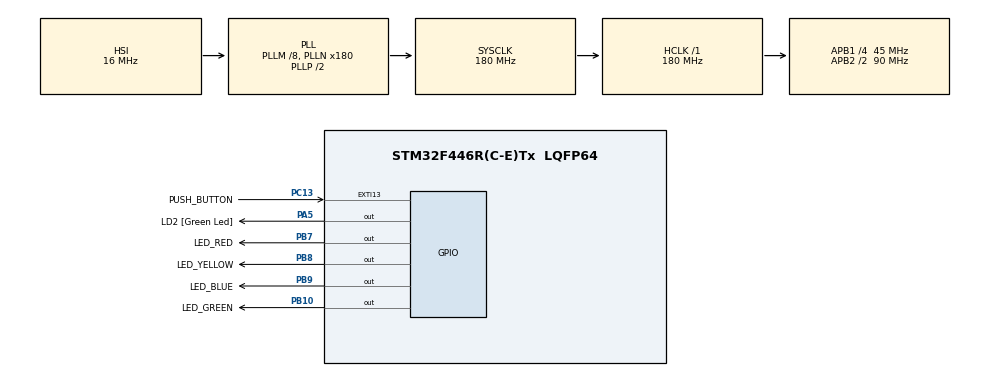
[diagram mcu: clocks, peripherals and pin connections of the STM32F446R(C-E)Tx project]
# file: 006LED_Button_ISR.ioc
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Mcu.Family=STM32F4
PH0-OSC_IN.Signal=RCC_OSC_IN
VP_SYS_VS_tim6.Mode=TIM6
RCC.CortexFreq_Value=180000000
PB9.GPIO_Label=LED_BLUE
NVIC.TIM6_DAC_IRQn=true\:0\:0\:false\:false\:true\:false\:true
PC13.Signal=GPXTI13
PA14.GPIO_Label=TCK
PC13.GPIO_Label=PUSH_BUTTON
RCC.APB1CLKDivider=RCC_HCLK_DIV4
PC14-OSC32_IN.Signal=RCC_OSC32_IN
RCC.SYSCLKSource=RCC_SYSCLKSOURCE_PLLCLK
ProjectManager.StackSize=0x400
PA13.Signal=SYS_JTMS-SWDIO
PB8.GPIO_Label=LED_YELLOW
ProjectManager.TargetToolchain=STM32CubeIDE
PB10.GPIO_Label=LED_GREEN
RCC.HCLKFreq_Value=180000000
RCC.APB2TimFreq_Value=180000000
RCC.USBFreq_Value=180000000
RCC.LSE_VALUE=32768
PC15-OSC32_OUT.Signal=RCC_OSC32_OUT
RCC.AHBFreq_Value=180000000
PB10.Signal=GPIO_Output
NVIC.EXTI15_10_IRQn=true\:6\:0\:true\:false\:true\:true\:true
PA5.Signal=GPIO_Output
RCC.HSE_VALUE=8000000
board=NUCLEO-F446RE
RCC.VCOOutputFreq_Value=360000000
RCC.APB2Freq_Value=90000000
PH1-OSC_OUT.Signal=RCC_OSC_OUT
PB7.Signal=GPIO_Output
Mcu.Name=STM32F446R(C-E)Tx
PA2.Signal=USART2_TX
PA13.GPIO_Label=TMS
RCC.FLatency-AdvancedSettings=FLASH_LATENCY_5
PB7.GPIO_Label=LED_RED
PB3.Signal=SYS_JTDO-SWO
RCC.SYSCLKFreq_VALUE=180000000
Mcu.Package=LQFP64
PB9.Signal=GPIO_Output
NVIC.TimeBase=TIM6_DAC_IRQn
PA5.GPIO_Label=LD2 [Green Led]
PC13.GPIO_ModeDefaultEXTI=GPIO_MODE_IT_RISING
PA2.GPIO_Label=USART_TX
NVIC.TimeBaseIP=TIM6
PA14.Signal=SYS_JTCK-SWCLK
ProjectManager.HeapSize=0x200
RCC.HSI_VALUE=16000000
NVIC.PriorityGroup=NVIC_PRIORITYGROUP_4
RCC.APB2CLKDivider=RCC_HCLK_DIV2
RCC.PLLM=8
RCC.PLLN=180
RCC.APB1TimFreq_Value=90000000
PB8.Signal=GPIO_Output
RCC.APB1Freq_Value=45000000
PA3.GPIO_Label=USART_RX
PA3.Signal=USART2_RX
PB3.GPIO_Label=SWO

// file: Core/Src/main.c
/* USER CODE BEGIN Header */
/**
  ******************************************************************************
  * @file           : main.c
  * @brief          : Main program body
  ******************************************************************************
  * @attention
  *
  * <h2><center>&copy; Copyright (c) 2021 STMicroelectronics.
  * All rights reserved.</center></h2>
  *
  * This software component is licensed by ST under BSD 3-Clause license,
  * the "License"; You may not use this file except in compliance with the
  * License. You may obtain a copy of the License at:
  *                        opensource.org/licenses/BSD-3-Clause
  *
  ******************************************************************************
  */
/* USER CODE END Header */
#include "main.h"

/* USER CODE BEGIN Includes */
#include "FreeRTOS.h"
#include "task.h"
/* USER CODE END Includes */

/* USER CODE BEGIN PV */
#define DWT_CTRL    (*(volatile uint32_t*)0xE0001000)
/* USER CODE END PV */

void SystemClock_Config(void);
static void MX_GPIO_Init(void);
/* USER CODE BEGIN PFP */
static void led_red_handler(void* parameters);
static void led_yellow_handler(void* parameters);
static void led_blue_handler(void* parameters);
static void led_green_handler(void* parameters);

extern void SEGGER_UART_init(uint32_t);

TaskHandle_t ledr_task_handle;
TaskHandle_t ledy_task_handle;
TaskHandle_t ledb_task_handle;
TaskHandle_t ledg_task_handle;

TaskHandle_t volatile next_task_handle = NULL;
/* USER CODE END PFP */

int main(void)
{
  /* USER CODE BEGIN 1 */
	BaseType_t status;
  /* USER CODE END 1 */

  /* MCU Configuration--------------------------------------------------------*/

  /* Reset of all peripherals, Initializes the Flash interface and the Systick. */
  HAL_Init();

  /* Configure the system clock */
  SystemClock_Config();

  /* Initialize all configured peripherals */
  MX_GPIO_Init();
  /* USER CODE BEGIN 2 */
	SEGGER_UART_init(500000);

	//CYCLCNT enable
	DWT_CTRL |= ( 1 << 0);

	SEGGER_SYSVIEW_Conf();
	//SEGGER_SYSVIEW_Start(); //comment out if using UART based continuous recording

	//Create Task 1: Red LED
	status = xTaskCreate(led_red_handler, "LED_RED_TASK", 200, NULL, 2, &ledr_task_handle);
	configASSERT(status == pdPASS);

	next_task_handle = ledy_task_handle;

	//Create Task 2: Yellow LED
	status = xTaskCreate(led_yellow_handler, "LED_YELLOW_TASK", 200, NULL, 2, &ledy_task_handle);
	configASSERT(status == pdPASS);

	//Create Task 3: Blue LED
	status = xTaskCreate(led_blue_handler, "LED_BLUE_TASK", 200, NULL, 2, &ledb_task_handle);
	configASSERT(status == pdPASS);

	//Create Task 4: Green LED
	status = xTaskCreate(led_green_handler, "LED_GREEN_TASK", 200, NULL, 2, &ledg_task_handle);
	configASSERT(status == pdPASS);

	//start the freeRTOS scheduler
	vTaskStartScheduler();

  /* USER CODE END 2 */

  /* Infinite loop */
	while (1)
	{

	}
}

void SystemClock_Config(void)
{
  RCC_OscInitTypeDef RCC_OscInitStruct = {0};
  RCC_ClkInitTypeDef RCC_ClkInitStruct = {0};

  /** Configure the main internal regulator output voltage
  */
  __HAL_RCC_PWR_CLK_ENABLE();
  __HAL_PWR_VOLTAGESCALING_CONFIG(PWR_REGULATOR_VOLTAGE_SCALE1);
  /** Initializes the RCC Oscillators according to the specified parameters
  * in the RCC_OscInitTypeDef structure.
  */
  RCC_OscInitStruct.OscillatorType = RCC_OSCILLATORTYPE_HSI;
  RCC_OscInitStruct.HSIState = RCC_HSI_ON;
  RCC_OscInitStruct.HSICalibrationValue = RCC_HSICALIBRATION_DEFAULT;
  RCC_OscInitStruct.PLL.PLLState = RCC_PLL_ON;
  RCC_OscInitStruct.PLL.PLLSource = RCC_PLLSOURCE_HSI;
  RCC_OscInitStruct.PLL.PLLM = 8;
  RCC_OscInitStruct.PLL.PLLN = 180;
  RCC_OscInitStruct.PLL.PLLP = RCC_PLLP_DIV2;
  RCC_OscInitStruct.PLL.PLLQ = 2;
  RCC_OscInitStruct.PLL.PLLR = 2;
  if (HAL_RCC_OscConfig(&RCC_OscInitStruct) != HAL_OK)
  {
    Error_Handler();
  }
  /** Activate the Over-Drive mode
  */
  if (HAL_PWREx_EnableOverDrive() != HAL_OK)
  {
    Error_Handler();
  }
  /** Initializes the CPU, AHB and APB buses clocks
  */
  RCC_ClkInitStruct.ClockType = RCC_CLOCKTYPE_HCLK|RCC_CLOCKTYPE_SYSCLK
                              |RCC_CLOCKTYPE_PCLK1|RCC_CLOCKTYPE_PCLK2;
  RCC_ClkInitStruct.SYSCLKSource = RCC_SYSCLKSOURCE_PLLCLK;
  RCC_ClkInitStruct.AHBCLKDivider = RCC_SYSCLK_DIV1;
  RCC_ClkInitStruct.APB1CLKDivider = RCC_HCLK_DIV4;
  RCC_ClkInitStruct.APB2CLKDivider = RCC_HCLK_DIV2;

  if (HAL_RCC_ClockConfig(&RCC_ClkInitStruct, FLASH_LATENCY_5) != HAL_OK)
  {
    Error_Handler();
  }
}

static void MX_GPIO_Init(void)
{
  GPIO_InitTypeDef GPIO_InitStruct = {0};

  /* GPIO Ports Clock Enable */
  __HAL_RCC_GPIOC_CLK_ENABLE();
  __HAL_RCC_GPIOH_CLK_ENABLE();
  __HAL_RCC_GPIOA_CLK_ENABLE();
  __HAL_RCC_GPIOB_CLK_ENABLE();

  /*Configure GPIO pin Output Level */
  HAL_GPIO_WritePin(LD2_GPIO_Port, LD2_Pin, GPIO_PIN_RESET);

  /*Configure GPIO pin Output Level */
  HAL_GPIO_WritePin(GPIOB, LED_GREEN_Pin|LED_RED_Pin|LED_YELLOW_Pin|LED_BLUE_Pin, GPIO_PIN_RESET);

  /*Configure GPIO pin : PUSH_BUTTON_Pin */
  GPIO_InitStruct.Pin = PUSH_BUTTON_Pin;
  GPIO_InitStruct.Mode = GPIO_MODE_IT_RISING;
  GPIO_InitStruct.Pull = GPIO_NOPULL;
  HAL_GPIO_Init(PUSH_BUTTON_GPIO_Port, &GPIO_InitStruct);

  /*Configure GPIO pins : USART_TX_Pin USART_RX_Pin */
  GPIO_InitStruct.Pin = USART_TX_Pin|USART_RX_Pin;
  GPIO_InitStruct.Mode = GPIO_MODE_AF_PP;
  GPIO_InitStruct.Pull = GPIO_NOPULL;
  GPIO_InitStruct.Speed = GPIO_SPEED_FREQ_VERY_HIGH;
  GPIO_InitStruct.Alternate = GPIO_AF7_USART2;
  HAL_GPIO_Init(GPIOA, &GPIO_InitStruct);

  /*Configure GPIO pin : LD2_Pin */
  GPIO_InitStruct.Pin = LD2_Pin;
  GPIO_InitStruct.Mode = GPIO_MODE_OUTPUT_PP;
  GPIO_InitStruct.Pull = GPIO_NOPULL;
  GPIO_InitStruct.Speed = GPIO_SPEED_FREQ_LOW;
  HAL_GPIO_Init(LD2_GPIO_Port, &GPIO_InitStruct);

  /*Configure GPIO pins : LED_GREEN_Pin LED_RED_Pin LED_YELLOW_Pin LED_BLUE_Pin */
  GPIO_InitStruct.Pin = LED_GREEN_Pin|LED_RED_Pin|LED_YELLOW_Pin|LED_BLUE_Pin;
  GPIO_InitStruct.Mode = GPIO_MODE_OUTPUT_PP;
  GPIO_InitStruct.Pull = GPIO_NOPULL;
  GPIO_InitStruct.Speed = GPIO_SPEED_FREQ_LOW;
  HAL_GPIO_Init(GPIOB, &GPIO_InitStruct);

  /* EXTI interrupt init*/
  HAL_NVIC_SetPriority(EXTI15_10_IRQn, 6, 0);
  HAL_NVIC_EnableIRQ(EXTI15_10_IRQn);

}

/* USER CODE BEGIN 4 */
static void led_red_handler(void* parameters) {

	BaseType_t status;

	while(1) {
		SEGGER_SYSVIEW_PrintfTarget("Toggling Red LED");
		HAL_GPIO_TogglePin(LED_RED_GPIO_Port, LED_RED_Pin);
		status = xTaskNotifyWait(0, 0, NULL, pdMS_TO_TICKS(1000));

		if(status == pdTRUE){
			portENTER_CRITICAL();
			next_task_handle = ledy_task_handle;
			HAL_GPIO_WritePin(LED_RED_GPIO_Port, LED_RED_Pin, GPIO_PIN_SET);
			SEGGER_SYSVIEW_PrintfTarget("Delete Red LED task");
			portEXIT_CRITICAL();
			vTaskDelete(NULL);
		}
	}
}

static void led_yellow_handler(void* parameters) {

	BaseType_t status;

	while(1) {
		SEGGER_SYSVIEW_PrintfTarget("Toggling Yellow LED");
		HAL_GPIO_TogglePin(LED_YELLOW_GPIO_Port, LED_YELLOW_Pin);
		status = xTaskNotifyWait(0, 0, NULL, pdMS_TO_TICKS(800));

		if(status == pdTRUE) {
			portENTER_CRITICAL();
			next_task_handle = ledb_task_handle;
			HAL_GPIO_WritePin(LED_YELLOW_GPIO_Port, LED_YELLOW_Pin, GPIO_PIN_SET);
			SEGGER_SYSVIEW_PrintfTarget("Delete Yellow LED task");
			portEXIT_CRITICAL();
			vTaskDelete(NULL);
		}
	}
}

static void led_blue_handler(void* parameters) {

	BaseType_t status;

	while(1) {
		SEGGER_SYSVIEW_PrintfTarget("Toggling Blue LED");
		HAL_GPIO_TogglePin(LED_BLUE_GPIO_Port, LED_BLUE_Pin);
		status = xTaskNotifyWait(0, 0, NULL, pdMS_TO_TICKS(600));

		if(status == pdTRUE) {
			portENTER_CRITICAL();
			next_task_handle = ledg_task_handle;
			HAL_GPIO_WritePin(LED_BLUE_GPIO_Port, LED_BLUE_Pin, GPIO_PIN_SET);
			SEGGER_SYSVIEW_PrintfTarget("Delete Blue LED task");
			portEXIT_CRITICAL();
			vTaskDelete(NULL);
		}
	}
}

static void led_green_handler(void* parameters) {

	BaseType_t status;

	while(1) {
		SEGGER_SYSVIEW_PrintfTarget("Toggling Green LED");
		HAL_GPIO_TogglePin(LED_GREEN_GPIO_Port, LED_GREEN_Pin);
		status = xTaskNotifyWait(0, 0, NULL, pdMS_TO_TICKS(400));

		if(status == pdTRUE){
			portENTER_CRITICAL();
			next_task_handle = NULL;
			HAL_GPIO_WritePin(LED_GREEN_GPIO_Port, LED_GREEN_Pin, GPIO_PIN_SET);
			SEGGER_SYSVIEW_PrintfTarget("Delete Green LED task");
			portEXIT_CRITICAL();
			vTaskDelete(NULL);
		}
	}
}

void button_interrupt_handler(void* parameters) {

	BaseType_t pxHigherPriorityTaskWoken;

	pxHigherPriorityTaskWoken = pdFALSE;

	traceISR_ENTER();
	xTaskNotifyFromISR(next_task_handle, 0, eNoAction, &pxHigherPriorityTaskWoken);

	/* once the ISR exits, the below macro makes higher priority task which got unblocked to resume on the CPU */
	portYIELD_FROM_ISR(pxHigherPriorityTaskWoken);

	traceISR_EXIT();
}

/* USER CODE END 4 */

 /**
  * @brief  Period elapsed callback in non blocking mode
  * @note   This function is called  when TIM6 interrupt took place, inside
  * HAL_TIM_IRQHandler(). It makes a direct call to HAL_IncTick() to increment
  * a global variable "uwTick" used as application time base.
  * @param  htim : TIM handle
  * @retval None
  */
void HAL_TIM_PeriodElapsedCallback(TIM_HandleTypeDef *htim)
{
  if (htim->Instance == TIM6) {
    HAL_IncTick();
  }
}

void Error_Handler(void)
{
  __disable_irq();
  while (1)
  {
  }
}

/************************ (C) COPYRIGHT STMicroelectronics *****END OF FILE****/
